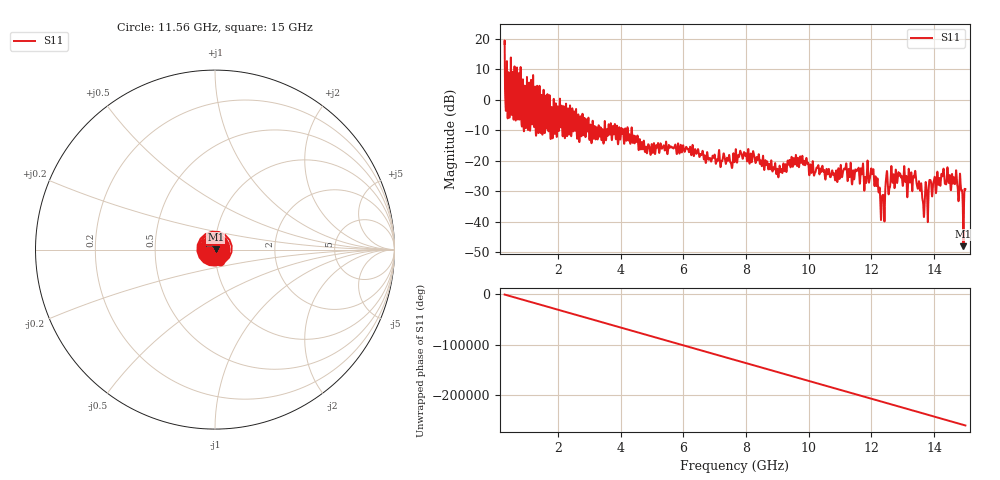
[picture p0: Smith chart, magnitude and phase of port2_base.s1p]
# GHZ S RI R 50.0
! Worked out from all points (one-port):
!   12801 points, 300 MHz to 15 GHz, reference 50 ohm
!   lowest |S11| = -48.0 dB at 14.94 GHz (marker M1), VSWR 1.01, Z = 50.4 + j0.0814 ohm
!   |S11| at or under -10 dB: 4.084 GHz to 4.143 GHz (58.44 MHz wide, 1.42 % of centre); 4.231 GHz to 4.343 GHz (112.3 MHz wide, 2.62 % of centre); 4.36 GHz to end of sweep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
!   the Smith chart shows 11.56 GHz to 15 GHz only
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0.3  -4.469 -6.972
0.3757969  3.06 -1.059
0.3826875  -1.127 -0.372
0.4228828  -2.738 -0.4812
0.4309219  1.245 -0.2568
0.4424063  -0.5849 0.244
0.7536328  0.4179 2.096
0.9121172  -0.304 -0.0602
1.206117  -0.1037 1.762
1.316367  0.0376 -0.3138
2.1375  -0.0969 0.3192
3.975  0.0695 0.2394
5.8125  0.1305 0.0756
7.65  0.0417 -0.0955
9.030422  0.0289 0.0453
9.4875  -0.0505 -0.0621
11.325  -0.0597 0.0364
12.01636  -0.0625 0.0178
12.35745  -0.0252 -0.00977
12.50674  0.0589 0.0217
12.65145  0.0631 -0.0162
13.1625  0.0242 0.0209
13.39563  0.0454 -0.0509
13.73787  0.0238 -0.0375
14.24777  -0.0513 -0.0279
14.64398  -0.0182 0.043
14.93913  0.00388 0.000808
15  0.0325 -0.0106
